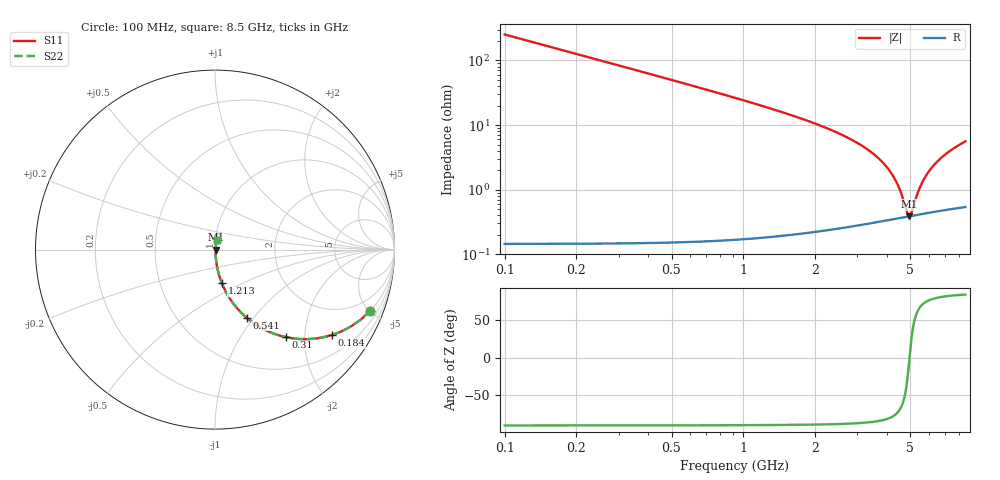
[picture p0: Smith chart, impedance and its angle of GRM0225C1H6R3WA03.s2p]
!Murata Part Number: GRM0225C1H6R3WA03
!These Parameters are Measured in Series Mode Connection
!Data Generated on Mar 30, 2021
!  o--ll--o
!Port1  Port2
!  o------o
!Operation Temp=25[degC], DC Bias Voltage=0[V]
!Freq. Start=100[MHz] Stop=9[GHz] 401[Steps]
# Hz S RI R 50
!Freq.(Hz) S11(Real) S11(Imag) S21(Real) S21(Imag) S12(Real) S12(Imag) S22(Real) S22(Imag)
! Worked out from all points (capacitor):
!   401 points, 100 MHz to 8.5 GHz, reference 50 ohm
!   read as one part in series: C = 6.3 pF near 142 MHz
!   lowest |Z| = 388 mohm at 4.951 GHz (marker M1)
!   series resonance near 4.959 GHz, so ESL is about 160 pH
!   S11 on the Smith chart (normalised r, x): 100 MHz: 1.00, -5.05; 184 MHz: 1.00, -2.74; 310 MHz: 1.00, -1.62; 541 MHz: 1.00, -0.92; 1.213 GHz: 1.00, -0.39; 8.5 GHz: 1.01, +0.11
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1e8  0.8643 -0.3422  0.1357 0.3422  0.1357 0.3422  0.8643 -0.3422
1.84e8  0.6526 -0.4756  0.3474 0.4756  0.3474 0.4756  0.6526 -0.4756
2.47e8  0.5099 -0.4992  0.4901 0.4992  0.4901 0.4992  0.5099 -0.4992
3.1e8  0.3973 -0.4884  0.6027 0.4884  0.6027 0.4884  0.3973 -0.4884
4.15e8  0.268 -0.4417  0.732 0.4417  0.732 0.4417  0.268 -0.4417
5.41e8  0.1762 -0.3793  0.8238 0.3793  0.8238 0.3793  0.1762 -0.3793
7.93e8  0.0889 -0.282  0.9111 0.282  0.9111 0.282  0.0889 -0.282
1.213e9  0.0383 -0.1874  0.9617 0.1874  0.9617 0.1874  0.0383 -0.1874
1.507e9  0.0243 -0.1476  0.9757 0.1476  0.9757 0.1476  0.0243 -0.1476
2.914e9  0.00584 -0.0557  0.9942 0.0557  0.9942 0.0557  0.00584 -0.0557
3.733e9  0.00402 -0.0287  0.996 0.0287  0.996 0.0287  0.00402 -0.0287
4.048e9  0.00378 -0.0203  0.9962 0.0203  0.9962 0.0203  0.00378 -0.0203
4.3e9  0.00371 -0.0142  0.9963 0.0142  0.9963 0.0142  0.00371 -0.0142
4.552e9  0.00372 -0.00851  0.9963 0.00851  0.9963 0.00851  0.00372 -0.00851
4.867e9  0.00382 -0.00185  0.9962 0.00185  0.9962 0.00185  0.00382 -0.00185
4.951e9  0.00386 -0.000158  0.9961 0.000158  0.9961 0.000158  0.00386 -0.000158
5.056e9  0.00392 0.00192  0.9961 -0.00192  0.9961 -0.00192  0.00392 0.00192
5.413e9  0.00417 0.00866  0.9958 -0.00866  0.9958 -0.00866  0.00417 0.00866
5.707e9  0.00443 0.0139  0.9956 -0.0139  0.9956 -0.0139  0.00443 0.0139
6.295e9  0.00508 0.0236  0.9949 -0.0236  0.9949 -0.0236  0.00508 0.0236
7.114e9  0.00617 0.036  0.9938 -0.036  0.9938 -0.036  0.00617 0.036
8.5e9  0.00838 0.0548  0.9916 -0.0548  0.9916 -0.0548  0.00838 0.0548
